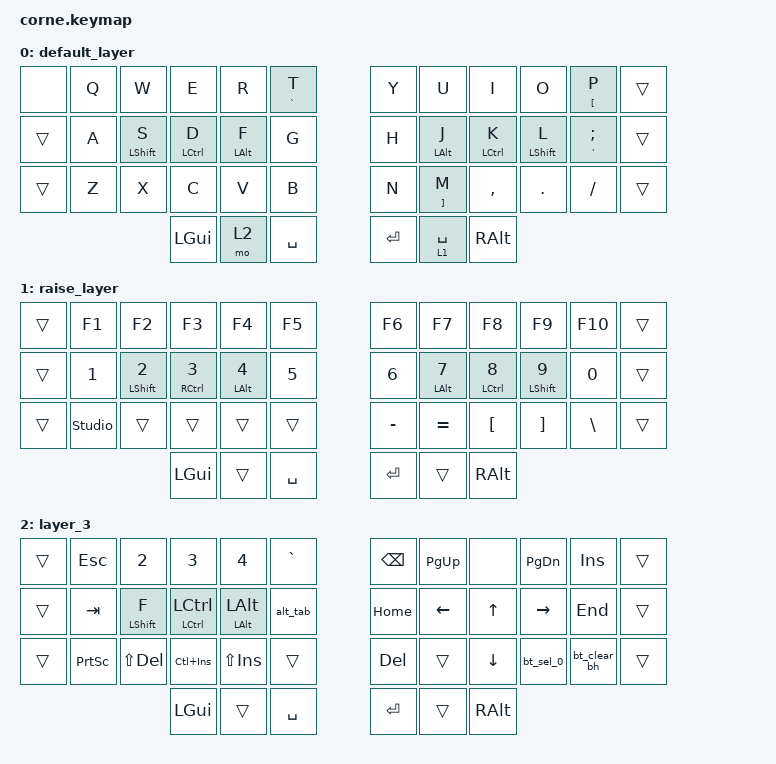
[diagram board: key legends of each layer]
/*
 * Copyright (c) 2020 The ZMK Contributors
 *
 * SPDX-License-Identifier: MIT
 */

#include <behaviors.dtsi>
#include <dt-bindings/zmk/bt.h>
#include <dt-bindings/zmk/keys.h>

&mt { flavor = "tap-preferred"; };

/ {
    macros {
        alt_tab: alt_tab {
            compatible = "zmk,behavior-macro";
            #binding-cells = <0>;
            bindings =
                <&macro_press>,
                <&kp LEFT_ALT>,
                <&macro_tap>,
                <&kp TAB>,
                <&macro_pause_for_release>,
                <&macro_release>,
                <&kp LEFT_ALT>;

            label = "ALT_TAB";
        };
    };

    combos {
        compatible = "zmk,combos";

        combo_quotes {
            bindings = <&kp SINGLE_QUOTE>;
            key-positions = <36 22>;
        };
    };

    behaviors {
        bt_clear_bh: bt_clear_bh {
            compatible = "zmk,behavior-tap-dance";
            label = "BT_CLEAR_BH";
            #binding-cells = <0>;
            bindings = <&none>, <&none>, <&bt BT_CLR_ALL>;
        };

        unlock_studio_bh: unlock_studio_bh {
            compatible = "zmk,behavior-tap-dance";
            label = "UNLOCK_STUDIO_BH";
            #binding-cells = <0>;
            bindings = <&none>, <&none>, <&studio_unlock>;
        };

        bt_sel_0: bt_sel_0 {
            compatible = "zmk,behavior-tap-dance";
            label = "BT_SEL_0";
            #binding-cells = <0>;
            bindings = <&none>, <&none>, <&bt BT_SEL 0>;
        };
    };

    keymap {
        compatible = "zmk,keymap";

        default_layer {
            // -----------------------------------------------------------------------------------------
            // |  TAB |  Q  |  W  |  E  |  R  |  T  |   |  Y  |  U   |  I  |  O  |  P  | BSPC |
            // | CTRL |  A  |  S  |  D  |  F  |  G  |   |  H  |  J   |  K  |  L  |  ;  |  '   |
            // | SHFT |  Z  |  X  |  C  |  V  |  B  |   |  N  |  M   |  ,  |  .  |  /  | ESC  |
            //                    | GUI | LWR | SPC |   | ENT | RSE  | ALT |

            bindings = <
&none   &kp Q  &kp W         &kp E        &kp R           &mt GRAVE T    &kp Y    &kp U                &kp I        &kp O         &mt LEFT_BRACKET P  &trans
&trans  &kp A  &mt LSHIFT S  &mt LCTRL D  &mt LEFT_ALT F  &kp G          &kp H    &mt LEFT_ALT J       &mt LCTRL K  &mt LSHIFT L  &mt SQT SEMICOLON   &trans
&trans  &kp Z  &kp X         &kp C        &kp V           &kp B          &kp N    &mt RIGHT_BRACKET M  &kp COMMA    &kp DOT       &kp FSLH            &trans
                             &kp LGUI     &mo 2           &kp SPACE      &kp RET  &lt 1 SPACE          &kp RALT
            >;
        };

        raise_layer {
            // -----------------------------------------------------------------------------------------
            // |  TAB |  !  |  @  |  #  |  $  |  %  |   |  ^  |  &  |  *  |  (  |  )  | BSPC |
            // | CTRL |     |     |     |     |     |   |  -  |  =  |  [  |  ]  |  \  |  `   |
            // | SHFT |     |     |     |     |     |   |  _  |  +  |  {  |  }  | "|" |  ~   |
            //                    | GUI |     | SPC |   | ENT |     | ALT |

            bindings = <
&trans  &kp F1          &kp F2                   &kp F3                      &kp F4                 &kp F5       &kp F6        &kp F7           &kp F8            &kp F9             &kp F10        &trans
&trans  &kp NUMBER_1    &mt LEFT_SHIFT NUMBER_2  &mt RIGHT_CONTROL NUMBER_3  &mt LEFT_ALT NUMBER_4  &kp N5       &kp NUMBER_6  &mt LEFT_ALT N7  &mt LCTRL N8      &mt LEFT_SHIFT N9  &kp N0         &trans
&trans  &studio_unlock  &trans                   &trans                      &trans                 &trans       &kp MINUS     &kp EQUAL        &kp LEFT_BRACKET  &kp RIGHT_BRACKET  &kp BACKSLASH  &trans
                                                 &kp LGUI                    &trans                 &kp SPACE    &kp RET       &trans           &kp RALT
            >;
        };

        layer_3 {
            bindings = <
&trans  &kp ESCAPE       &kp N2            &kp N3           &kp N4                 &kp GRAVE    &kp BACKSPACE  &kp PAGE_UP     &none         &kp PAGE_DOWN  &kp INSERT    &trans
&trans  &kp TAB          &mt LEFT_SHIFT F  &mt LCTRL LCTRL  &mt LEFT_ALT LEFT_ALT  &alt_tab     &kp HOME       &kp LEFT_ARROW  &kp UP_ARROW  &kp RIGHT      &kp END       &trans
&trans  &kp PRINTSCREEN  &kp LS(DELETE)    &kp LC(INSERT)   &kp LS(INSERT)         &trans       &kp DELETE     &trans          &kp DOWN      &bt_sel_0      &bt_clear_bh  &trans
                                           &kp LGUI         &trans                 &kp SPACE    &kp RET        &trans          &kp RALT
            >;
        };
    };
};
